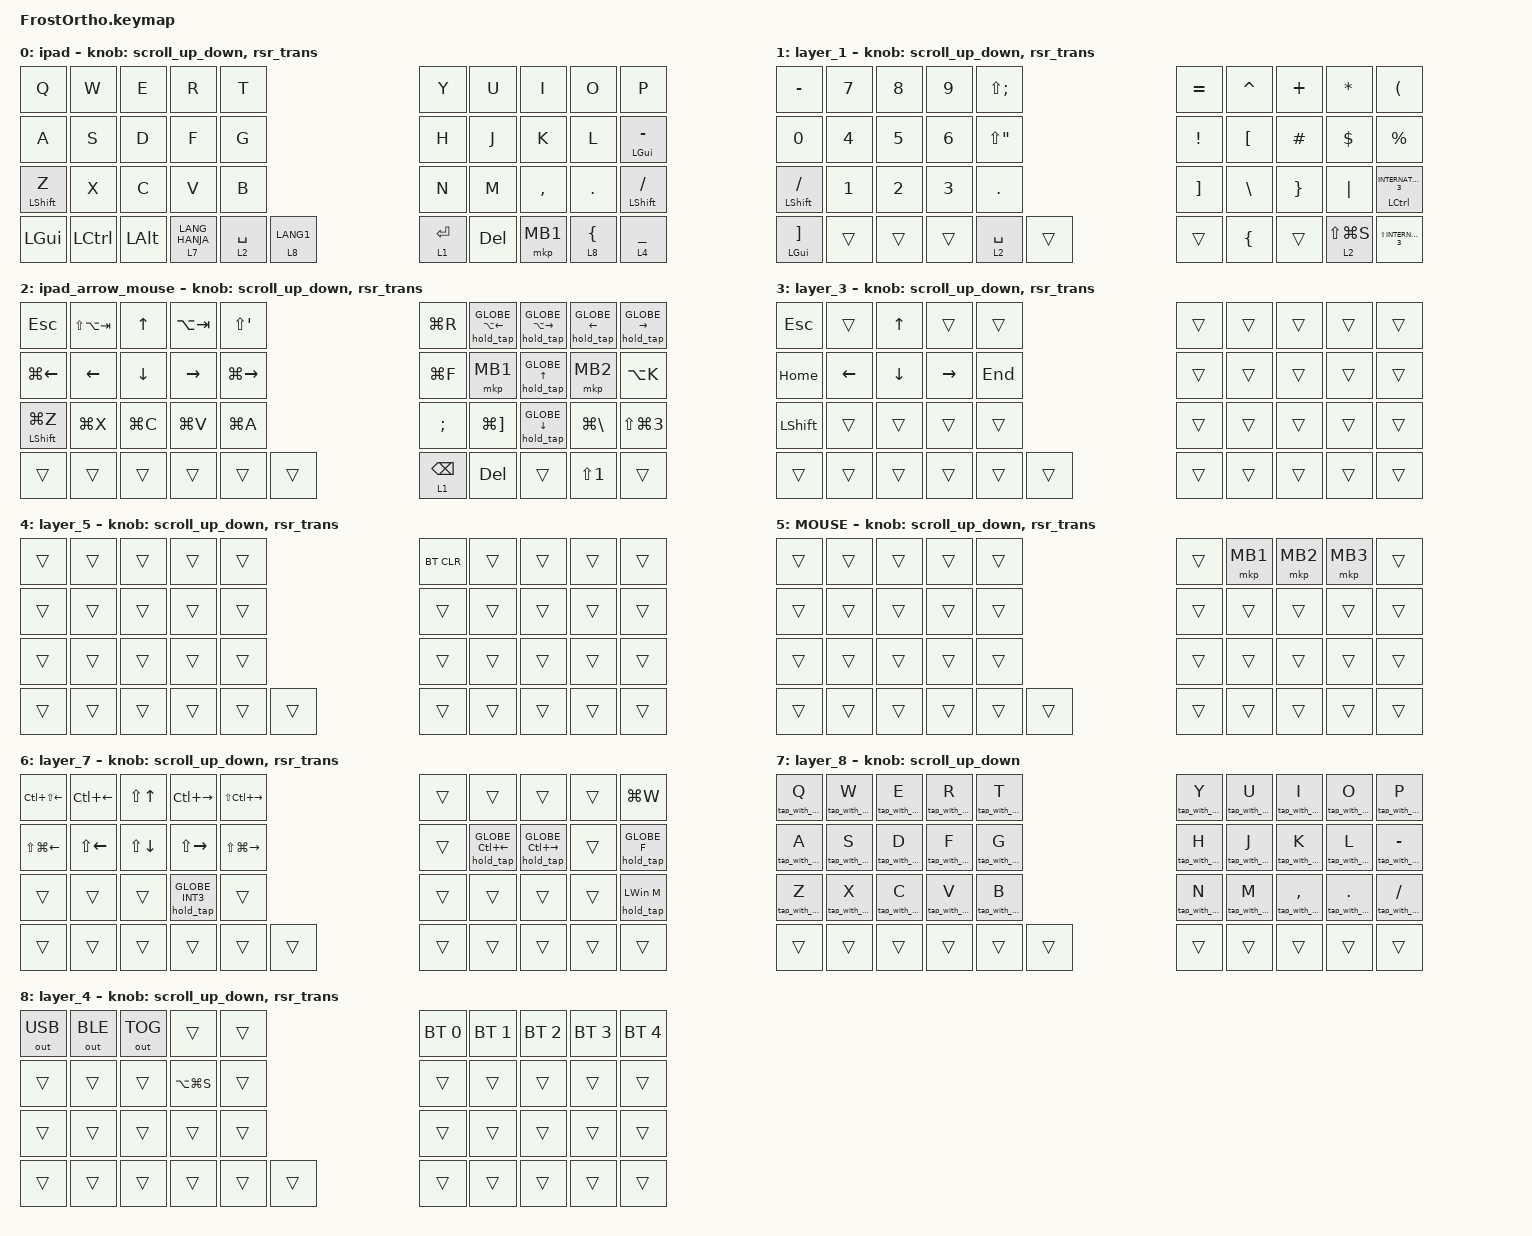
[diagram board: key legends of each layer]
// エンコーダの &msc SCRL_UP/DOWN の速度（units/秒）。既定 10 では tap-ms=20 の
// 1ティック(16ms)あたり 0.16 unit → 整数化で 0 になり、何も送られない。
// 100 なら 1ティックで 1.6 → 1 unit = 1クリック 1ノッチ
// （R.conf で smooth scrolling を無効にしているので iPad / Windows とも同じ）。
// pointing.h の #ifndef より前に置く必要があるため、全 #include より先に書く。

#define ZMK_POINTING_DEFAULT_SCRL_VAL 100

#include <input/processors.dtsi>
#include <behaviors/runtime-sensor-rotate.dtsi>
#include <behaviors/runtime-sensor-rotate.dtsi>
#include <behaviors.dtsi>
#include <dt-bindings/zmk/bt.h>
#include <dt-bindings/zmk/keys.h>
#include <dt-bindings/zmk/outputs.h>
#include <dt-bindings/zmk/pointing.h>

#define MOUSE 6

&mt {
    flavor = "balanced";
    quick-tap-ms = <0>;
};

// AML クリックしたときにタイムアウトを延長
// 下の行をコメントアウトでAMLオフ
// &mkp_input_listener { input-processors = <&zip_temp_layer 6 10000>; };

/ {
    combos {
        compatible = "zmk,combos";

        tab_only_layer0 {
            bindings = <&kp TAB>;
            key-positions = <11 12>;
            layers = <0>;
        };

        shift_tab_only_layer0 {
            bindings = <&kp LS(TAB)>;
            key-positions = <12 13>;
        };

        double_quote_only_layer_0 {
            bindings = <&kp AT_SIGN>;
            key-positions = <16 17>;
            layers = <0>;
        };

        quote_only_layer_0 {
            bindings = <&kp AMPERSAND>;
            key-positions = <17 18>;
            layers = <0>;
        };

        under_bar_only_layer_0 {
            bindings = <&kp LS(INTERNATIONAL_1)>;
            key-positions = <18 19>;
            layers = <0>;
        };

        colon_only_layer_1 {
            bindings = <&kp APOSTROPHE>;
            key-positions = <16 17>;
            layers = <1>;
        };

        semicolon_only_layer_1 {
            bindings = <&kp SEMICOLON>;
            key-positions = <17 18>;
            layers = <1>;
        };

        command+up_only_layer_0 {
            bindings = <&kp LG(UP_ARROW)>;
            key-positions = <10 11 13>;
            layers = <0>;
            require-prior-idle-ms = <100>;
            timeout-ms = <30>;
        };

        command+down_only_layer_0 {
            bindings = <&kp LG(DOWN)>;
            key-positions = <10 12 13>;
            layers = <0>;
            timeout-ms = <30>;
            require-prior-idle-ms = <100>;
        };
    };

    macros {
        to_layer_0: to_layer_0 {
            compatible = "zmk,behavior-macro-one-param";
            #binding-cells = <1>;
            bindings = <&to 0 &macro_param_1to1 &kp MACRO_PLACEHOLDER>;
            label = "TO_LAYER_0";
        };

        screenshot: screenshot {
            compatible = "zmk,behavior-macro";
            #binding-cells = <0>;
            bindings =
                <&to 6>,
                <&macro_press>,
                <&kp LEFT_WIN &kp LEFT_SHIFT &kp S>,
                <&macro_release>,
                <&kp LEFT_WIN &kp LEFT_SHIFT &kp S>;

            label = "SCREENSHOT";
        };

        hold_tap: hold_tap {
            compatible = "zmk,behavior-macro-two-param";
            #binding-cells = <2>;
            bindings = <&macro_param_1to1 &kt MACRO_PLACEHOLDER &macro_param_2to1 &kp MACRO_PLACEHOLDER &macro_param_1to1 &kt MACRO_PLACEHOLDER>;
            label = "HOLD_TAP";
        };

        tap_with_alt: tap_with_alt {
            compatible = "zmk,behavior-macro-one-param";
            #binding-cells = <1>;
            bindings =
                <&kt LEFT_ALT &macro_param_1to1 &kp MACRO_PLACEHOLDER>,
                <&macro_press>,
                <&kt LEFT_ALT>;

            label = "TAP_WITH_ALT";
        };
    };

    behaviors {
        lt_to_layer_0: lt_to_layer_0 {
            compatible = "zmk,behavior-hold-tap";
            label = "LAYER_TAP_TO_0";
            bindings = <&mo>, <&to_layer_0>;

            #binding-cells = <2>;
            tapping-term-ms = <300>;
        };

        // Kyemap Editor用

        scroll_up_down: behavior_sensor_rotate_mouse {
            compatible = "zmk,behavior-sensor-rotate";
            #sensor-binding-cells = <0>;
            tap-ms = <20>;
            bindings = <&msc SCRL_UP>, <&msc SCRL_DOWN>;

            label = "sensor_rotate_mouse_scroll";
        };

        vol_up_down: vol_up_down {
            compatible = "zmk,behavior-sensor-rotate";
            #sensor-binding-cells = <0>;
            tap-ms = <5>;
            bindings = <&kp C_VOL_DN>, <&kp C_VOL_UP>;
        };

        // DYA Studio用

        rsr_vol: rsr_vol {
            compatible = "zmk,behavior-runtime-sensor-rotate";
            #sensor-binding-cells = <0>;
            tap-ms = <5>;
            cw-binding = <&kp C_VOL_DN>;
            ccw-binding = <&kp C_VOL_UP>;
        };
    };

    keymap {
        compatible = "zmk,keymap";

        ipad {
            bindings = <
&kp Q             &kp W             &kp E         &kp R             &kp T                         &kp Y        &kp U       &kp I      &kp O             &kp P
&kp A             &kp S             &kp D         &kp F             &kp G                         &kp H        &kp J       &kp K      &kp L             &mt LEFT_GUI MINUS
&mt LEFT_SHIFT Z  &kp X             &kp C         &kp V             &kp B                         &kp N        &kp M       &kp COMMA  &kp PERIOD        &mt LEFT_SHIFT SLASH
&kp LEFT_GUI      &kp LEFT_CONTROL  &kp LEFT_ALT  &lt 7 LANG_HANJA  &lt 2 SPACE  &lt 8 LANG1      &lt 1 ENTER  &kp DELETE  &mkp MB1   &lt 8 LEFT_BRACE  &lt 4 UNDER
            >;

            sensor-bindings = <&scroll_up_down>, <&rsr_trans>;
        };

        layer_1 {
            bindings = <
&kp MINUS             &kp N7  &kp N8  &kp N9  &kp LS(SEMICOLON)              &kp EQUAL          &kp CARET         &kp PLUS         &kp ASTERISK     &kp LEFT_PARENTHESIS
&kp N0                &kp N4  &kp N5  &kp N6  &kp LS(DQT)                    &kp EXCLAMATION    &kp LEFT_BRACKET  &kp POUND        &kp DOLLAR       &kp PERCENT
&mt LEFT_SHIFT SLASH  &kp N1  &kp N2  &kp N3  &kp DOT                        &kp RIGHT_BRACKET  &kp BACKSLASH     &kp RIGHT_BRACE  &kp PIPE         &mt LCTRL INTERNATIONAL_3
&mt LEFT_GUI RBKT     &trans  &trans  &trans  &lt 2 SPACE        &trans      &trans             &kp LEFT_BRACE    &trans           &lt 2 LS(LG(S))  &kp LS(INTERNATIONAL_3)
            >;

            sensor-bindings = <&scroll_up_down>, <&rsr_trans>;
        };

        ipad_arrow_mouse {
            bindings = <
&kp ESCAPE            &kp LS(LA(TAB))  &kp UP_ARROW  &kp LA(TAB)  &kp LS(SQT)                &kp LG(R)        &hold_tap GLOBE LA(LEFT)  &hold_tap GLOBE LA(RIGHT)   &hold_tap GLOBE LEFT_ARROW  &hold_tap GLOBE RIGHT
&kp LG(LEFT)          &kp LEFT         &kp DOWN      &kp RIGHT    &kp LG(RIGHT)              &kp LG(F)        &mkp MB1                  &hold_tap GLOBE UP_ARROW    &mkp MB2                    &kp LA(K)
&mt LEFT_SHIFT LG(Z)  &kp LG(X)        &kp LG(C)     &kp LG(V)    &kp LG(A)                  &kp SEMICOLON    &kp LG(RIGHT_BRACKET)     &hold_tap GLOBE DOWN_ARROW  &kp LG(BACKSLASH)           &kp LS(LG(NUMBER_3))
&trans                &trans           &trans        &trans       &trans         &trans      &lt 1 BACKSPACE  &kp DELETE                &trans                      &kp LS(NUMBER_1)            &trans
            >;

            sensor-bindings = <&scroll_up_down>, <&rsr_trans>;
        };

        layer_3 {
            bindings = <
&kp ESCAPE      &trans          &kp UP_ARROW    &trans           &trans               &trans  &trans  &trans  &trans  &trans
&kp HOME        &kp LEFT_ARROW  &kp DOWN_ARROW  &kp RIGHT_ARROW  &kp END              &trans  &trans  &trans  &trans  &trans
&kp LEFT_SHIFT  &trans          &trans          &trans           &trans               &trans  &trans  &trans  &trans  &trans
&trans          &trans          &trans          &trans           &trans   &trans      &trans  &trans  &trans  &trans  &trans
            >;

            sensor-bindings = <&scroll_up_down>, <&rsr_trans>;
        };

        layer_5 {
            bindings = <
&trans  &trans  &trans  &trans  &trans              &bt BT_CLR  &trans  &trans  &trans  &trans
&trans  &trans  &trans  &trans  &trans              &trans      &trans  &trans  &trans  &trans
&trans  &trans  &trans  &trans  &trans              &trans      &trans  &trans  &trans  &trans
&trans  &trans  &trans  &trans  &trans  &trans      &trans      &trans  &trans  &trans  &trans
            >;

            sensor-bindings = <&scroll_up_down>, <&rsr_trans>;
        };

        MOUSE {
            bindings = <
&trans  &trans  &trans  &trans  &trans              &trans  &mkp MB1  &mkp MB2  &mkp MB3  &trans
&trans  &trans  &trans  &trans  &trans              &trans  &trans    &trans    &trans    &trans
&trans  &trans  &trans  &trans  &trans              &trans  &trans    &trans    &trans    &trans
&trans  &trans  &trans  &trans  &trans  &trans      &trans  &trans    &trans    &trans    &trans
            >;

            sensor-bindings = <&scroll_up_down>, <&rsr_trans>;
        };

        layer_7 {
            bindings = <
&kp LC(LS(LEFT))  &kp LC(LEFT)  &kp LS(UP_ARROW)  &kp LC(RIGHT)         &kp LS(LC(RIGHT))              &trans  &trans                    &trans                     &trans  &kp LG(W)
&kp LS(LG(LEFT))  &kp LS(LEFT)  &kp LS(DOWN)      &kp LS(RIGHT)         &kp LS(LG(RIGHT))              &trans  &hold_tap GLOBE LC(LEFT)  &hold_tap GLOBE LC(RIGHT)  &trans  &hold_tap GLOBE F
&trans            &trans        &trans            &hold_tap GLOBE INT3  &trans                         &trans  &trans                    &trans                     &trans  &hold_tap LEFT_WIN M
&trans            &trans        &trans            &trans                &trans             &trans      &trans  &trans                    &trans                     &trans  &trans
            >;

            sensor-bindings = <&scroll_up_down>, <&rsr_trans>;
        };

        layer_8 {
            bindings = <
&tap_with_alt Q  &tap_with_alt W  &tap_with_alt E  &tap_with_alt R  &tap_with_alt T              &tap_with_alt Y  &tap_with_alt U  &tap_with_alt I      &tap_with_alt O       &tap_with_alt P
&tap_with_alt A  &tap_with_alt S  &tap_with_alt D  &tap_with_alt F  &tap_with_alt G              &tap_with_alt H  &tap_with_alt J  &tap_with_alt K      &tap_with_alt L       &tap_with_alt MINUS
&tap_with_alt Z  &tap_with_alt X  &tap_with_alt C  &tap_with_alt V  &tap_with_alt B              &tap_with_alt N  &tap_with_alt M  &tap_with_alt COMMA  &tap_with_alt PERIOD  &tap_with_alt SLASH
&trans           &trans           &trans           &trans           &trans           &trans      &trans           &trans           &trans               &trans                &trans
            >;

            sensor-bindings = <&scroll_up_down>;
        };

        layer_4 {
            bindings = <
&out OUT_USB  &out OUT_BLE  &out OUT_TOG  &trans         &trans              &bt BT_SEL 0  &bt BT_SEL 1  &bt BT_SEL 2  &bt BT_SEL 3  &bt BT_SEL 4
&trans        &trans        &trans        &kp LA(LG(S))  &trans              &trans        &trans        &trans        &trans        &trans
&trans        &trans        &trans        &trans         &trans              &trans        &trans        &trans        &trans        &trans
&trans        &trans        &trans        &trans         &trans  &trans      &trans        &trans        &trans        &trans        &trans
            >;

            sensor-bindings = <&scroll_up_down>, <&rsr_trans>;
        };
    };

    conditional_layers {
        compatible = "zmk,conditional-layers";

        textselector_condition {
            if-layers = <2 1>;
            then-layer = <6>;
        };
    };
};
